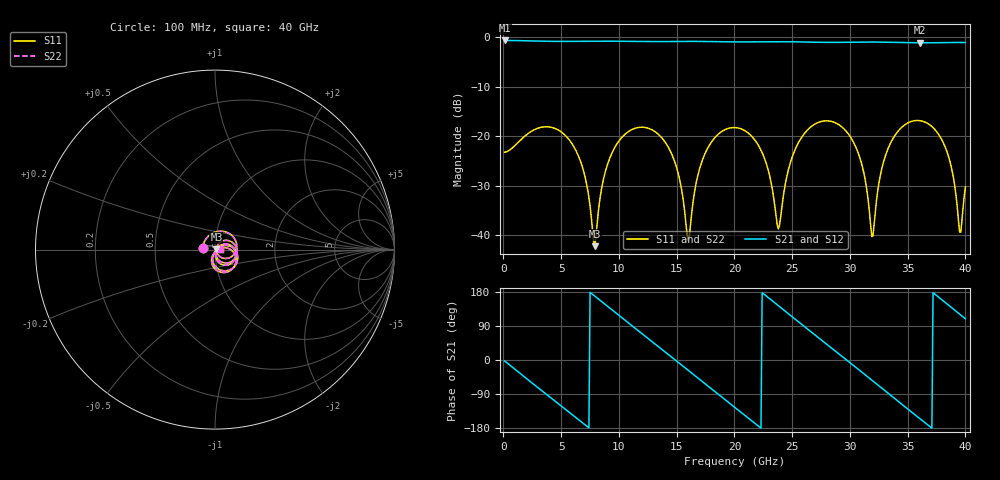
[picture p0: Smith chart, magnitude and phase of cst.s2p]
! T_ts6_sl_10: Stripline In2, ThunderScope stack, w 0.183 mm, 10 mm
! stackup: ThunderScope Rev5.3 6-layer (FR408HR / FR-4, from the board file)
! ports: 1 near A, 2 far A
! CST Studio Suite 2025.5 Release from 2025-05-30, time domain (FIT, hexahedral, PBA), 89544 mesh cells, 19 s
! mesh: {'lpw': 20, 'lpb': 20, 'minstep': 0.0, 'ratio': 20}; ports: port 1 (face); port 2 (face)
! interpolated from CST's 1001 samples to the case grid
# Hz S RI R 50
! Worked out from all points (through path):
!   400 points, 100 MHz to 40 GHz, reference 50 ohm
!   highest |S21| = -0.63 dB at 100 MHz (marker M1); lowest = -1.1 dB at 36.1 GHz (marker M2)
!   group delay of S21, straight-line fit = 67.4 ps
!   lowest |S11| = -42.2 dB at 7.9 GHz (marker M3), VSWR 1.02, Z = 50.8 + j0.0622 ohm
!   |S11| at or under -10 dB: start of sweep to end of sweep
!   |S22| runs from -42.2 to -16.8 dB; largest |S21 - S12| = 8.9e-07
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1e8  -0.0687 0.00755  0.9291 -0.04  0.9291 -0.04  -0.0687 0.00755
3.5e9  0.1088 0.0611  0.0745 -0.9103  0.0745 -0.9103  0.1088 0.0611
6.8e9  0.0299 -0.0408  -0.8804 -0.2435  -0.8804 -0.2435  0.0299 -0.0408
7.9e9  0.00777 0.000612  -0.8978 0.1789  -0.8978 0.1789  0.00777 0.000611
9.6e9  0.0559 0.0513  -0.5534 0.7263  -0.5534 0.7263  0.0559 0.0513
1.14e10  0.1207 0.00423  0.0979 0.9013  0.0979 0.9013  0.1207 0.00422
1.34e10  0.0761 -0.0729  0.7347 0.5294  0.7347 0.5294  0.0761 -0.0729
1.5e10  0.0119 -0.0466  0.9083 -0.0464  0.9083 -0.0464  0.0119 -0.0466
1.6e10  0.00821 -0.00318  0.8092 -0.4178  0.8092 -0.4178  0.0082 -0.00318
1.74e10  0.0564 0.0319  0.4336 -0.7981  0.4336 -0.7981  0.0564 0.0319
2.01e10  0.1074 -0.0591  -0.5381 -0.7206  -0.5381 -0.7206  0.1074 -0.0591
2.25e10  0.0125 -0.0632  -0.8998 0.0739  -0.8998 0.0739  0.0126 -0.0632
2.38e10  0.00986 -0.00619  -0.7275 0.5376  -0.7275 0.5376  0.00987 -0.00621
2.49e10  0.0523 0.0226  -0.4036 0.8071  -0.4036 0.8071  0.0523 0.0226
2.67e10  0.1241 -0.0258  0.2648 0.8535  0.2648 0.8535  0.1241 -0.0258
3.03e10  -0.0022 -0.0878  0.8667 -0.2174  0.8667 -0.2174  -0.00223 -0.0878
3.19e10  0.00485 -0.00843  0.5351 -0.7192  0.5351 -0.7192  0.00483 -0.0084
3.34e10  0.0799 0.00411  -0.00408 -0.8916  -0.00408 -0.8916  0.0799 0.00415
3.61e10  0.0795 -0.12  -0.8022 -0.362  -0.8022 -0.362  0.0796 -0.12
3.84e10  -0.019 -0.0676  -0.7543 0.4652  -0.7543 0.4652  -0.019 -0.0677
3.95e10  0.00408 -0.01  -0.4585 0.7599  -0.4585 0.7599  0.00411 -0.0101
4e10  0.0306 0.00455  -0.2839 0.8397  -0.2839 0.8397  0.0306 0.00449
